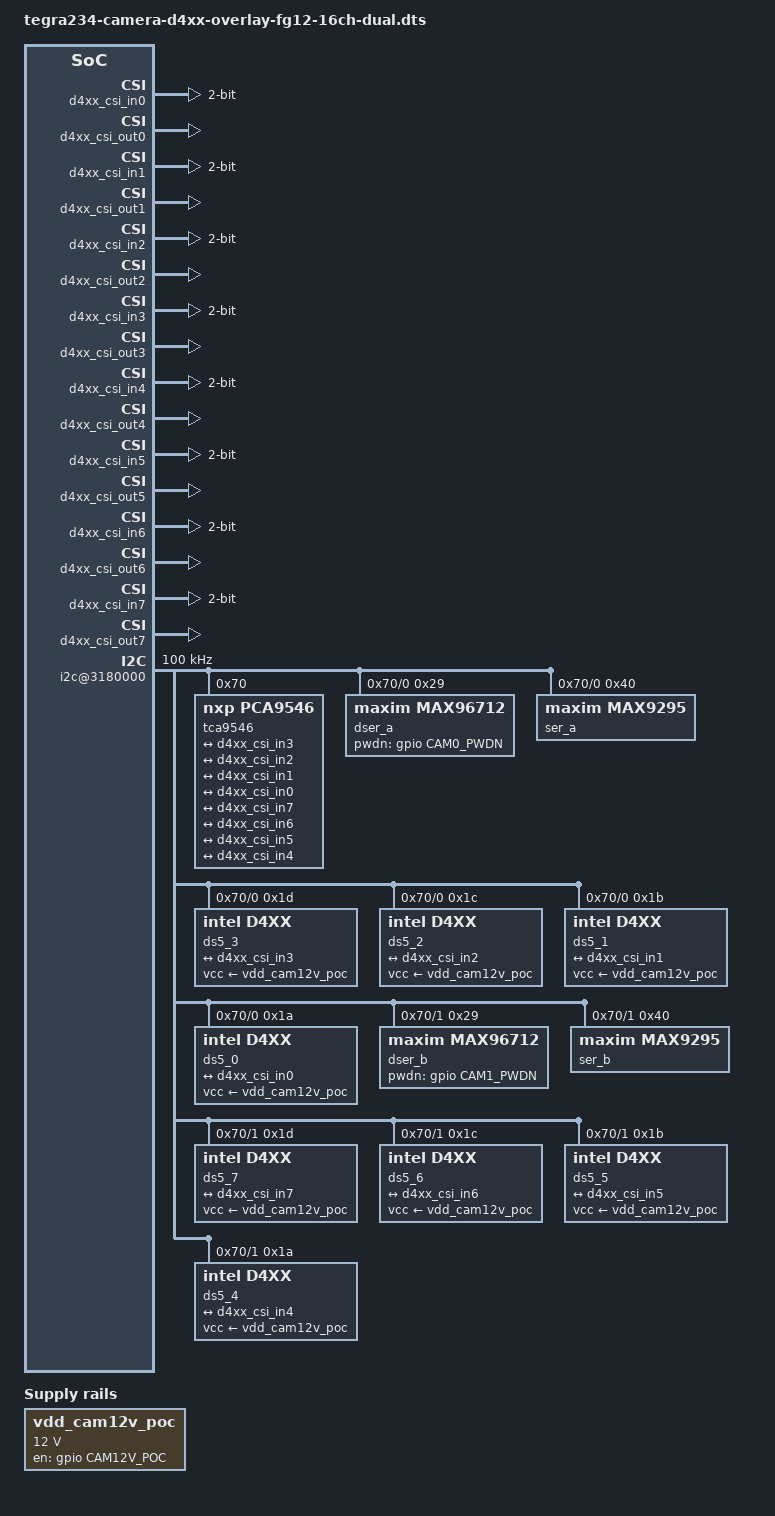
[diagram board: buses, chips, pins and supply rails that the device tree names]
// SPDX-License-Identifier: GPL-2.0-only
// SPDX-FileCopyrightText: Copyright (c) 2018-2023, INTEL CORPORATION.  All rights reserved.

/dts-v1/;
/plugin/;

#include <dt-bindings/clock/tegra234-clock.h>
#include <dt-bindings/gpio/tegra234-gpio.h>
#include <dt-bindings/tegra234-p3737-0000+p3701-0000.h>

#define CAM0_PWDN	TEGRA234_MAIN_GPIO(H, 6)  //MAX96712_1 PWDN
#define CAM1_PWDN	TEGRA234_MAIN_GPIO(H, 3)  //MAX96712_2 PWDN
//#define CAM2_PWDN	TEGRA234_MAIN_GPIO(AC, 0) //MAX96712_3 PWDN
//#define CAM3_PWDN	TEGRA234_MAIN_GPIO(AC, 1) //MAX96712_4 PWDN
#define CAM12V_POC	TEGRA234_MAIN_GPIO(AC, 7)

#define CAMERA_I2C_MUX_BUS(x) (0x1E + x)



/* camera control gpio definitions */
/ {
	overlay-name = "Jetson RealSense Camera D457";
	jetson-header-name = "Jetson AGX CSI Connector";
	compatible = JETSON_COMPATIBLE;

	fragment@1 {
		target-path = "/";
		__overlay__ {
			vdd_cam12v_poc: regulator-vdd-cam12v-poc {
					compatible = "regulator-fixed";
					regulator-name = "vdd-cam12v-poc";
					regulator-min-microvolt = <12000000>;
					regulator-max-microvolt = <12000000>;
					gpio = <&gpio CAM12V_POC GPIO_ACTIVE_HIGH>;
					enable-active-high;
			};
		};
	};
	fragment@0 {
		target-path = "/";
		__overlay__ {
			tegra-capture-vi {
				num-channels = <8>;
				ports {
					status = "okay";
					port@0 {
						status = "okay";
						reg = <0>;
						d4xx_vi_in0: endpoint {
							status = "okay";
							vc-id = <0>;
							port-index = <0>;
							bus-width = <2>;
							remote-endpoint = <&d4xx_csi_out0>;
						};
					};
					port@1 {
						status = "okay";
						reg = <1>;
						d4xx_vi_in1: endpoint {
							status = "okay";
							vc-id = <1>;
							port-index = <0>;
							bus-width = <2>;
							remote-endpoint = <&d4xx_csi_out1>;
						};
					};
					port@2 {
						status = "okay";
						reg = <2>;
						d4xx_vi_in2: endpoint {
							status = "okay";
							vc-id = <2>;
							port-index = <0>;
							bus-width = <2>;
							remote-endpoint = <&d4xx_csi_out2>;
						};
					};
					port@3 {
						status = "okay";
						reg = <3>;
						d4xx_vi_in3: endpoint {
							status = "okay";
							vc-id = <3>;
							port-index = <0>;
							bus-width = <2>;
							remote-endpoint = <&d4xx_csi_out3>;
						};
					};
					port@4 {
						status = "okay";
						reg = <4>;
						d4xx_vi_in4: endpoint {
							status = "okay";
							vc-id = <0>;
							port-index = <2>;
							bus-width = <2>;
							remote-endpoint = <&d4xx_csi_out4>;
						};
					};
					port@5 {
						status = "okay";
						reg = <5>;
						d4xx_vi_in5: endpoint {
							status = "okay";
							vc-id = <1>;
							port-index = <2>;
							bus-width = <2>;
							remote-endpoint = <&d4xx_csi_out5>;
						};
					};
					port@6 {
						status = "okay";
						reg = <6>;
						d4xx_vi_in6: endpoint {
							status = "okay";
							vc-id = <2>;
							port-index = <2>;
							bus-width = <2>;
							remote-endpoint = <&d4xx_csi_out6>;
						};
					};
					port@7 {
						status = "okay";
						reg = <7>;
						d4xx_vi_in7: endpoint {
							status = "okay";
							vc-id = <3>;
							port-index = <2>;
							bus-width = <2>;
							remote-endpoint = <&d4xx_csi_out7>;
						};
					};
				};
			};

			bus@0 {
				host1x@13e00000 {
					nvcsi@15a00000 {
						num-channels = <8>;
						channel@0 {
							status = "okay";
							reg = <0>;
							ports {
								status = "okay";
								port@0 {
									status = "okay";
									reg = <0>;
									d4xx_csi_in0: endpoint@0 {
										status = "okay";
										port-index = <0>;
										bus-width = <2>;
										remote-endpoint = <&ds5_0_out>;
									};
								};
								port@1 {
									status = "okay";
									reg = <1>;
									d4xx_csi_out0: endpoint@1 {
										status = "okay";
										remote-endpoint = <&d4xx_vi_in0>;
									};
								};
							};
						};
						channel@1 {
							status = "okay";
							reg = <1>;
							ports {
								status = "okay";
								port@0 {
									status = "okay";
									reg = <0>;
									d4xx_csi_in1: endpoint@2 {
										status = "okay";
										port-index = <0>;
										bus-width = <2>;
										remote-endpoint = <&ds5_1_out>;
									};
								};
								port@1 {
									status = "okay";
									reg = <1>;
									d4xx_csi_out1: endpoint@3 {
										status = "okay";
										remote-endpoint = <&d4xx_vi_in1>;
									};
								};
							};
						};
						channel@2 {
							status = "okay";
							reg = <2>;
							ports {
								status = "okay";
								port@0 {
									status = "okay";
									reg = <0>;
									d4xx_csi_in2: endpoint@4 {
										status = "okay";
										port-index = <0>;
										bus-width = <2>;
										remote-endpoint = <&ds5_2_out>;
									};
								};
								port@1 {
									status = "okay";
									reg = <1>;
									d4xx_csi_out2: endpoint@5 {
										status = "okay";
										remote-endpoint = <&d4xx_vi_in2>;
									};
								};
							};
						};
						channel@3 {
							status = "okay";
							reg = <3>;
							ports {
								status = "okay";
								port@0 {
									status = "okay";
									reg = <0>;
									d4xx_csi_in3: endpoint@6 {
										status = "okay";
										port-index = <0>;
										bus-width = <2>;
										remote-endpoint = <&ds5_3_out>;
									};
								};
								port@1 {
									status = "okay";
									reg = <1>;
									d4xx_csi_out3: endpoint@7 {
										status = "okay";
										remote-endpoint = <&d4xx_vi_in3>;
									};
								};
							};
						};
						channel@4 {
							status = "okay";
							reg = <4>;
							ports {
								status = "okay";
								port@0 {
									status = "okay";
									reg = <0>;
									d4xx_csi_in4: endpoint@8 {
										status = "okay";
										port-index = <2>;
										bus-width = <2>;
										remote-endpoint = <&ds5_4_out>;
									};
								};
								port@1 {
									status = "okay";
									reg = <1>;
									d4xx_csi_out4: endpoint@9 {
										status = "okay";
										remote-endpoint = <&d4xx_vi_in4>;
									};
								};
							};
						};
						channel@5 {
							status = "okay";
							reg = <5>;
							ports {
								status = "okay";
								port@0 {
									status = "okay";
									reg = <0>;
									d4xx_csi_in5: endpoint@10 {
										status = "okay";
										port-index = <2>;
										bus-width = <2>;
										remote-endpoint = <&ds5_5_out>;
									};
								};
								port@1 {
									status = "okay";
									reg = <1>;
									d4xx_csi_out5: endpoint@11 {
										status = "okay";
										remote-endpoint = <&d4xx_vi_in5>;
									};
								};
							};
						};
						channel@6 {
							status = "okay";
							reg = <6>;
							ports {
								status = "okay";
								port@0 {
									status = "okay";
									reg = <0>;
									d4xx_csi_in6: endpoint@12 {
										status = "okay";
										port-index = <2>;
										bus-width = <2>;
										remote-endpoint = <&ds5_6_out>;
									};
								};
								port@1 {
									status = "okay";
									reg = <1>;
									d4xx_csi_out6: endpoint@13 {
										status = "okay";
										remote-endpoint = <&d4xx_vi_in6>;
									};
								};
							};
						};
						channel@7 {
							status = "okay";
							reg = <7>;
							ports {
								status = "okay";
								port@0 {
									status = "okay";
									reg = <0>;
									d4xx_csi_in7: endpoint@14 {
										status = "okay";
										port-index = <2>;
										bus-width = <2>;
										remote-endpoint = <&ds5_7_out>;
									};
								};
								port@1 {
									status = "okay";
									reg = <1>;
									d4xx_csi_out7: endpoint@15 {
										status = "okay";
										remote-endpoint = <&d4xx_vi_in7>;
									};
								};
							};
						};
					};
				};

				i2c@3180000 {
					clock-frequency = <100000>;
					tca9546@70 {
						status = "okay";
						reg = <0x70>;
						compatible = "nxp,pca9546";
						#address-cells = <1>;
						#size-cells = <0>;
						skip_mux_detect = "yes";
						/*vcc-pullup-supply = <&battery_reg>;*/
						force_bus_start = <CAMERA_I2C_MUX_BUS(0)>;
						vcc_lp = "vcc";
						i2c@0 {
							status = "okay";
							reg = <0>;
							i2c-mux,deselect-on-exit;
							#address-cells = <1>;
							#size-cells = <0>;

							dser_a: max96712@29 {
								status = "okay";
								reg = <0x29>;
								compatible = "maxim,max96712";
								csi-mode = "2x4";
								max-src = <1>;
								channel = "a";
								pwdn-gpios = <&gpio CAM0_PWDN GPIO_ACTIVE_HIGH>;
							};

							ser_a: max9295_a@40 {
								status = "okay";
								compatible = "maxim,max9295";
								reg = <0x40>;
								maxim,gmsl-dser-device = <&dser_a>;
							};

							ds5_3: ds5@1d {
								status = "okay";
								def-addr = <0x10>;
								reg = <0x1d>;
								override_reg = <0x1a>;
								compatible = "intel,d4xx";
								use_sensor_mode_id = "true";
								vcc-supply = <&vdd_cam12v_poc>;
								cam-type = "IMU";
								nvidia,gmsl-ser-device = <&ser_a>;
								nvidia,gmsl-dser-device = <&dser_a>;
								ports {
									#address-cells = <1>;
									#size-cells = <0>;

									port@0 {
										reg = <0>;
										ds5_3_out: endpoint {
											vc-id = <3>;
											port-index = <3>;
											bus-width = <2>;
											remote-endpoint = <&d4xx_csi_in3>;
										};
									};
								};
								mode0 {
									pixel_t = "grey_y16";
									num_lanes = "2";
									csi_pixel_bit_depth = "16";
									active_w = "640";
									active_h = "480";
									tegra_sinterface = "serial_b";
									mclk_khz = "24000";
									pix_clk_hz = "74250000";
									line_length = "1280"; /* 2200 */
									embedded_metadata_height = "0";
								};
								gmsl-link {
									src-csi-port = "b";
									dst-csi-port = "a";
									serdes-csi-link = "a";
									csi-mode = "1x4";
									st-vc = <0>;
									vc-id = <3>;
									num-lanes = <2>;
								};
							};

							ds5_2: ds5@1c {
								status = "okay";
								def-addr = <0x10>;
								reg = <0x1c>;
								override_reg = <0x1a>;
								compatible = "intel,d4xx";
								use_sensor_mode_id = "true";
								vcc-supply = <&vdd_cam12v_poc>;
								cam-type = "Y8";
								nvidia,gmsl-ser-device = <&ser_a>;
								nvidia,gmsl-dser-device = <&dser_a>;
								ports {
									#address-cells = <1>;
									#size-cells = <0>;

									port@0 {
										reg = <0>;
										ds5_2_out: endpoint {
											vc-id = <2>;
											port-index = <2>;
											bus-width = <2>;
											remote-endpoint = <&d4xx_csi_in2>;
										};
									};
								};
								/* mode0: Y8, mode1: depth D16 */
								mode0 {
									pixel_t = "grey_y16";
									num_lanes = "2";
									csi_pixel_bit_depth = "16";
									active_w = "1280";
									active_h = "720";
									tegra_sinterface = "serial_b";
									mclk_khz = "24000";
									pix_clk_hz = "74250000";
									line_length = "1280"; /* 2200 */
									embedded_metadata_height = "1";
								};
								gmsl-link {
									src-csi-port = "b";
									dst-csi-port = "a";
									serdes-csi-link = "a";
									csi-mode = "1x4";
									st-vc = <0>;
									vc-id = <2>;
									num-lanes = <2>;
								};
							};

							ds5_1: ds5@1b {
								status = "okay";
								def-addr = <0x10>;
								reg = <0x1b>;
								override_reg = <0x1a>;
								compatible = "intel,d4xx";
								use_sensor_mode_id = "true";
								vcc-supply = <&vdd_cam12v_poc>;
								cam-type = "RGB";
								nvidia,gmsl-ser-device = <&ser_a>;
								nvidia,gmsl-dser-device = <&dser_a>;
								ports {
									#address-cells = <1>;
									#size-cells = <0>;

									port@0 {
										reg = <0>;
										ds5_1_out: endpoint {
											vc-id = <1>;
											port-index = <1>;
											bus-width = <2>;
											remote-endpoint = <&d4xx_csi_in1>;
										};
									};
								};
								mode0 {
									pixel_t = "grey_y16";
									num_lanes = "2";
									csi_pixel_bit_depth = "16";
									active_w = "1920";
									active_h = "1080";
									tegra_sinterface = "serial_e";
									mclk_khz = "24000";
									pix_clk_hz = "74250000";
									line_length = "1280"; /* 2200 */
									embedded_metadata_height = "1";
								};
								gmsl-link {
									src-csi-port = "b";
									dst-csi-port = "a";
									serdes-csi-link = "a";
									csi-mode = "1x4";
									st-vc = <0>;
									vc-id = <1>;
									num-lanes = <2>;
								};
							};

							ds5_0: ds5@1a {
								status = "okay";
								def-addr = <0x10>;
								reg = <0x1a>;
								compatible = "intel,d4xx";
								use_sensor_mode_id = "true";
								vcc-supply = <&vdd_cam12v_poc>;
								cam-type = "Depth";
								nvidia,gmsl-ser-device = <&ser_a>;
								nvidia,gmsl-dser-device = <&dser_a>;
								ports {
									#address-cells = <1>;
									#size-cells = <0>;

									port@0 {
										reg = <0>;
										ds5_0_out: endpoint {
											vc-id = <0>;
											port-index = <0>;
											bus-width = <2>;
											remote-endpoint = <&d4xx_csi_in0>;
										};
									};
								};
								mode0 {
									pixel_t = "grey_y16";
									num_lanes = "2";
									csi_pixel_bit_depth = "16";
									active_w = "1280";
									active_h = "720";
									tegra_sinterface = "serial_a";
									mclk_khz = "24000";
									pix_clk_hz = "74250000";
									line_length = "1280"; /* 2200 */
									embedded_metadata_height = "1";
								};
								gmsl-link {
									src-csi-port = "b";
									dst-csi-port = "a";
									serdes-csi-link = "a";
									csi-mode = "1x4";
									st-vc = <0>;
									vc-id = <0>;
									num-lanes = <2>;
								};
							};
						};
						i2c@1 {
							status = "okay";
							reg = <1>;
							i2c-mux,deselect-on-exit;
							#address-cells = <1>;
							#size-cells = <0>;

							dser_b: max96712@29 {
								status = "okay";
								reg = <0x29>;
								compatible = "maxim,max96712";
								csi-mode = "2x4";
								max-src = <1>;
								channel = "b";
								pwdn-gpios = <&gpio CAM1_PWDN GPIO_ACTIVE_HIGH>;
							};

							ser_b: max9295_a@40 {
								status = "okay";
								compatible = "maxim,max9295";
								reg = <0x40>;
								maxim,gmsl-dser-device = <&dser_b>;
							};

							ds5_7: ds5@1d {
								status = "okay";
								def-addr = <0x10>;
								reg = <0x1d>;
								override_reg = <0x1a>;
								compatible = "intel,d4xx";
								use_sensor_mode_id = "true";
								vcc-supply = <&vdd_cam12v_poc>;
								cam-type = "IMU";
								nvidia,gmsl-ser-device = <&ser_b>;
								nvidia,gmsl-dser-device = <&dser_b>;
								ports {
									#address-cells = <1>;
									#size-cells = <0>;

									port@0 {
										reg = <0>;
										ds5_7_out: endpoint {
											vc-id = <3>;
											port-index = <7>;
											bus-width = <2>;
											remote-endpoint = <&d4xx_csi_in7>;
										};
									};
								};
								mode0 {
									pixel_t = "grey_y16";
									num_lanes = "2";
									csi_pixel_bit_depth = "16";
									active_w = "640";
									active_h = "480";
									tegra_sinterface = "serial_c";
									mclk_khz = "24000";
									pix_clk_hz = "74250000";
									line_length = "1280"; /* 2200 */
									embedded_metadata_height = "0";
								};
								gmsl-link {
									src-csi-port = "b";
									dst-csi-port = "c";
									serdes-csi-link = "a";
									csi-mode = "1x4";
									st-vc = <0>;
									vc-id = <3>;
									num-lanes = <2>;
								};
							};

							ds5_6: ds5@1c {
								status = "okay";
								def-addr = <0x10>;
								reg = <0x1c>;
								override_reg = <0x1a>;
								compatible = "intel,d4xx";
								use_sensor_mode_id = "true";
								vcc-supply = <&vdd_cam12v_poc>;
								cam-type = "Y8";
								nvidia,gmsl-ser-device = <&ser_b>;
								nvidia,gmsl-dser-device = <&dser_b>;
								ports {
									#address-cells = <1>;
									#size-cells = <0>;

									port@0 {
										reg = <0>;
										ds5_6_out: endpoint {
											vc-id = <2>;
											port-index = <6>;
											bus-width = <2>;
											remote-endpoint = <&d4xx_csi_in6>;
										};
									};
								};
								/* mode0: Y8, mode1: depth D16 */
								mode0 {
									pixel_t = "grey_y16";
									num_lanes = "2";
									csi_pixel_bit_depth = "16";
									active_w = "1280";
									active_h = "720";
									tegra_sinterface = "serial_c";
									mclk_khz = "24000";
									pix_clk_hz = "74250000";
									line_length = "1280"; /* 2200 */
									embedded_metadata_height = "1";
								};
								gmsl-link {
									src-csi-port = "b";
									dst-csi-port = "c";
									serdes-csi-link = "a";
									csi-mode = "1x4";
									st-vc = <0>;
									vc-id = <2>;
									num-lanes = <2>;
								};
							};

							ds5_5: ds5@1b {
								status = "okay";
								def-addr = <0x10>;
								reg = <0x1b>;
								override_reg = <0x1a>;
								compatible = "intel,d4xx";
								use_sensor_mode_id = "true";
								vcc-supply = <&vdd_cam12v_poc>;
								cam-type = "RGB";
								nvidia,gmsl-ser-device = <&ser_b>;
								nvidia,gmsl-dser-device = <&dser_b>;
								ports {
									#address-cells = <1>;
									#size-cells = <0>;

									port@0 {
										reg = <0>;
										ds5_5_out: endpoint {
											vc-id = <1>;
											port-index = <5>;
											bus-width = <2>;
											remote-endpoint = <&d4xx_csi_in5>;
										};
									};
								};
								mode0 {
									pixel_t = "grey_y16";
									num_lanes = "2";
									csi_pixel_bit_depth = "16";
									active_w = "1920";
									active_h = "1080";
									tegra_sinterface = "serial_c";
									mclk_khz = "24000";
									pix_clk_hz = "74250000";
									line_length = "1280"; /* 2200 */
									embedded_metadata_height = "1";
								};
								gmsl-link {
									src-csi-port = "b";
									dst-csi-port = "c";
									serdes-csi-link = "a";
									csi-mode = "1x4";
									st-vc = <0>;
									vc-id = <1>;
									num-lanes = <2>;
								};
							};

							ds5_4: ds5@1a {
								status = "okay";
								def-addr = <0x10>;
								reg = <0x1a>;
								compatible = "intel,d4xx";
								use_sensor_mode_id = "true";
								vcc-supply = <&vdd_cam12v_poc>;
								cam-type = "Depth";
								nvidia,gmsl-ser-device = <&ser_b>;
								nvidia,gmsl-dser-device = <&dser_b>;
								ports {
									#address-cells = <1>;
									#size-cells = <0>;

									port@0 {
										reg = <0>;
										ds5_4_out: endpoint {
											vc-id = <0>;
											port-index = <4>;
											bus-width = <2>;
											remote-endpoint = <&d4xx_csi_in4>;
										};
									};
								};
								mode0 {
									pixel_t = "grey_y16";
									num_lanes = "2";
									csi_pixel_bit_depth = "16";
									active_w = "1280";
									active_h = "720";
									tegra_sinterface = "serial_c";
									mclk_khz = "24000";
									pix_clk_hz = "74250000";
									line_length = "1280"; /* 2200 */
									embedded_metadata_height = "1";
								};
								gmsl-link {
									src-csi-port = "b";
									dst-csi-port = "c";
									serdes-csi-link = "a";
									csi-mode = "1x4";
									st-vc = <0>;
									vc-id = <0>;
									num-lanes = <2>;
								};
							};
						};
					};
				};
			};
		};
	};
};
